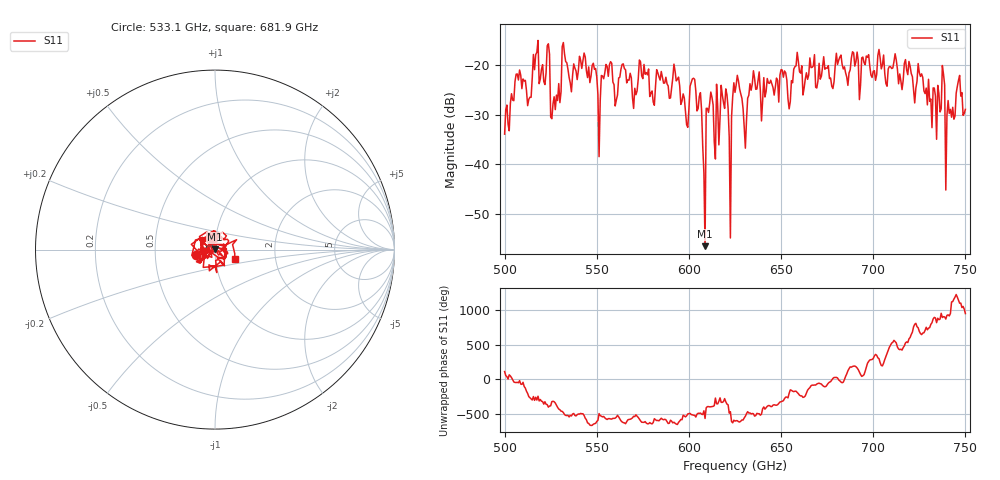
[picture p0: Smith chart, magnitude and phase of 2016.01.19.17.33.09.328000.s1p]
!Created with skrf (http://scikit-rf.org).
# GHz S RI R 50.0
!freq ReS11 ImS11
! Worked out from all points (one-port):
!   401 points, 500 GHz to 750 GHz, reference 50 ohm
!   lowest |S11| = -56.6 dB at 608.8 GHz (marker M1), VSWR 1.00, Z = 49.9 + j0.0742 ohm
!   |S11| at or under -10 dB: start of sweep to end of sweep
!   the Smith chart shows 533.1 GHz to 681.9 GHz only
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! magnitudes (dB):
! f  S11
! 500 GHz  -33.9
! 507.5 GHz  -23.0
! 513.1 GHz  -26.9
! 516.9 GHz  -17.8
! 523.1 GHz  -16.0
! 526.2 GHz  -27.8
! 531.2 GHz  -16.2
! 548.8 GHz  -20.8
! 551.2 GHz  -38.5
! 562.5 GHz  -22.4
! 593.8 GHz  -22.8
! 598.8 GHz  -32.0
! 602.5 GHz  -22.6
! 608.8 GHz  -56.6
! 610.6 GHz  -29.5
! 615 GHz  -23.8
! 618.8 GHz  -27.5
! 622.5 GHz  -54.9
! 625 GHz  -25.5
! 630.6 GHz  -36.8
! 634.4 GHz  -23.8
! 656.2 GHz  -23.5
! 687.5 GHz  -20.9
! 718.8 GHz  -21.9
! 737.5 GHz  -20.0
! 740.6 GHz  -27.1
! 746.2 GHz  -23.0
! 750 GHz  -28.9
